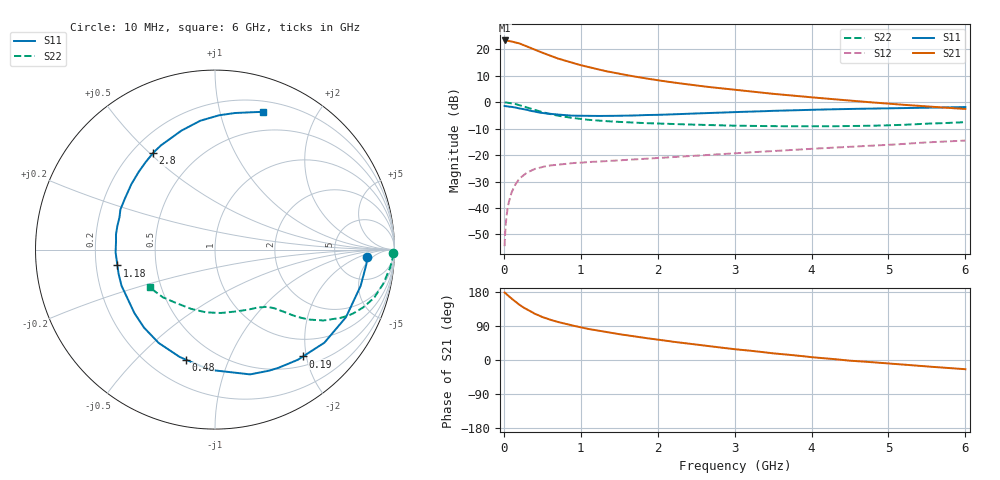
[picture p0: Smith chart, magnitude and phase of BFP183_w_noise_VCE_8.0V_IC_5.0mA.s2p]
! Infineon Technologies  Discrete & RF Semiconductors
! BFP183
! VCE = 8.0 V,  IC =  5.0 mA
! Common Emitter S-Parameters:  Jan 2016
# GHz  S  MA  R  50
!  f  S11  S21  S12  S22
! GHz  MAG  ANG  MAG  ANG  MAG  ANG  MAG  ANG
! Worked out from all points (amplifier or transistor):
!   210 points, 10 MHz to 6 GHz, reference 50 ohm
!   highest |S21| = 23.4 dB at 10 MHz (marker M1)
!   |S21| within 3 dB of that: start of sweep to 361.8 MHz
!   unconditionally stable (mu >= 1): 1.644 GHz to 5.826 GHz
!   at 185 MHz: K = 0.16, MSG = 26.0 dB, |S12| = -29.6 dB
!   at 1.52 GHz: K = 0.95, MSG = 16.3 dB, |S12| = -21.9 dB
!   at 6 GHz: K = 0.96, MSG = 6.0 dB, |S12| = -14.5 dB
!   lowest NFmin = 1.15 dB at 450 MHz
!   S11 on the Smith chart (normalised r, x): 10 MHz: 11, -3; 190 MHz: 0.66, -1.94; 480 MHz: 0.35, -0.71; 1.18 GHz: 0.29, -0.07; 2.8 GHz: 0.28, +0.51; 6 GHz: 0.30, +1.36
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0.01  0.8493 -2.6  14.75 178.1  0.0019 86.0  0.992 -1.2
0.04  0.8379 -11.2  14.58 172.8  0.008 85.5  0.9844 -4.7
0.1  0.8212 -27.3  14.13 162.2  0.0195 75.2  0.956 -11.6
0.15  0.8003 -40.4  13.55 153.9  0.028 68.7  0.9266 -16.8
0.19  0.7713 -50.5  13.08 147.7  0.034 64.2  0.894 -20.4
0.24  0.7475 -61.8  12.31 140.6  0.0399 59.0  0.8501 -24.6
0.3  0.7222 -74.3  11.39 133.4  0.0467 53.8  0.7967 -28.5
0.4  0.6706 -92.5  9.938 122.2  0.0546 47.0  0.7195 -33.3
0.48  0.6339 -104.9  8.889 115.4  0.0588 42.8  0.6644 -36.0
0.5  0.6297 -108.2  8.649 113.4  0.0599 41.8  0.6509 -36.8
0.6  0.6074 -121.1  7.662 106.5  0.0637 38.3  0.5987 -39.0
0.7  0.5877 -132.3  6.737 100.5  0.0658 35.7  0.5588 -40.5
0.8  0.5716 -141.8  6.098 95.2  0.0684 33.5  0.529 -41.6
1.02  0.5568 -160.3  4.945 85.3  0.0724 31.2  0.4792 -43.8
1.18  0.5506 -170.8  4.342 79.2  0.0749 30.2  0.456 -45.4
1.5  0.5581 171.2  3.457 68.1  0.0798 30.2  0.4256 -48.5
2.02  0.5795 148.3  2.582 53.2  0.0886 30.3  0.3954 -55.3
2.8  0.6389 122.8  1.85 33.1  0.1039 30.6  0.3663 -69.4
3.1  0.6587 115.1  1.658 26.6  0.1103 30.1  0.3587 -75.7
4.1  0.7267 94.8  1.205 5.8  0.1342 27.5  0.3521 -100.8
5.1  0.7721 80.6  0.917 -10.7  0.1596 24.1  0.3706 -127.6
6  0.8121 70.9  0.747 -24.3  0.1887 17.6  0.4209 -150.0
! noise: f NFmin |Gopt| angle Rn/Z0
0.45  1.15  0.25  40  0.26
0.9  1.2  0.25  93  0.22
1.8  1.95  0.32  170  0.13
